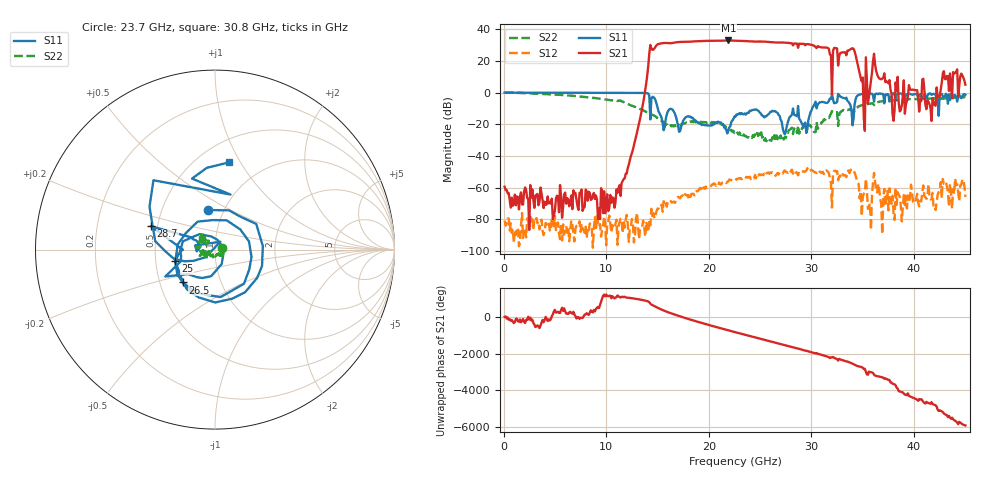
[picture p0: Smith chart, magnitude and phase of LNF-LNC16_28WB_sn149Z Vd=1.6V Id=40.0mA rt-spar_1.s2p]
!Mode: Constant current
!Vd_set [V]: 1.6
!Id_set [A]: 0.04
!Vd [V]: 1.6
!Vg [V]: -0.135
!Id [A]: 0.039988
!Ig [A]: -1.4e-05
!bias: Vd=1.6V Id=40.0mA
!psx-card: 1
!psx-channel: 1
!VNA ID: Agilent Technologies,E8361A,US43140535,A.06.04.32
!IFBW [Hz]: 50.0
!Averaging: 1
!Power [dBm]: -50.0
!Power Slope [dB/GHz]: 0.0
!Reduce IF at low frequency: 1
!Sweep_index: 1
!DUT model number: LNF-LNC16_28WB
!DUT serial number: 149Z
!Station: RT1
!Setup: Room temperature S-parameter
!Method: rt-spar
!Measurement start: 2021-02-22 17:17:17
!Measurement end: 2021-02-22 17:17:35
!Measurement length [s]: 17.90469479560852
!Saved by LNF Software Version: 0.9.109
#HZ S DB R 50
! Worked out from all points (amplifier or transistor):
!   450 points, 100 MHz to 45 GHz, reference 50 ohm
!   highest |S21| = 33.0 dB at 21.9 GHz (marker M1)
!   |S21| within 3 dB of that: 14.92 GHz to 28.19 GHz (13.27 GHz wide, 61.6 % of centre)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
!   unconditionally stable (mu >= 1): 200 MHz to 342.3 MHz; 833.7 MHz to 1.301 GHz; 1.499 GHz to end of sweep
!   at 7.6 GHz: K = 90999.63, MAG = -41.8 dB, |S12| = -82.8 dB
!   at 22.6 GHz: K = 6.62, MAG = 33.0 dB, |S12| = -55.5 dB
!   at 45 GHz: K = 72.84, MAG = 13.8 dB, |S12| = -66.0 dB
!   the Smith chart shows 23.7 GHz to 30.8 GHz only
!   S11 on the Smith chart (normalised r, x): 23.7 GHz: 0.84, +0.39; 25 GHz: 0.63, -0.09; 26.5 GHz: 0.66, -0.26; 28.7 GHz: 0.46, +0.14; 30.8 GHz: 0.70, +0.90
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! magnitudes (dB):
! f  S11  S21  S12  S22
! 100 MHz  0.0  -59.5  -80.8  0.0
! 7.6 GHz  -0.1  -61.2  -82.8  -2.5
! 11 GHz  -0.1  -61.2  -80.3  -5.1
! 13 GHz  -0.2  -25.2  -75.9  -9.4
! 14.3 GHz  -17.0  30.1  -83.9  -13.4
! 15.1 GHz  -11.8  30.8  -73.3  -16.6
! 21.9 GHz  -23.6  33.0  -56.1  -22.5
! 22.6 GHz  -15.2  32.8  -55.5  -24.7
! 23.7 GHz  -13.0  32.6  -53.3  -28.0
! 25 GHz  -12.7  32.3  -52.2  -27.8
! 26.5 GHz  -11.9  31.7  -52.6  -30.6
! 28.7 GHz  -8.4  28.4  -52.3  -20.7
! 30.1 GHz  -9.5  30.0  -49.2  -22.7
! 30.8 GHz  -6.2  28.9  -50.1  -20.7
! 34.1 GHz  -16.8  27.7  -49.1  -12.1
! 35 GHz  -0.9  9.5  -66.0  -7.8
! 36.1 GHz  -5.7  24.6  -50.8  -7.9
! 37.6 GHz  -5.6  7.9  -60.4  -5.1
! 37.9 GHz  -0.6  -13.4  -65.2  -4.9
! 41.8 GHz  -1.0  -3.5  -63.4  -3.7
! 43 GHz  -2.3  8.6  -57.6  -3.6
! 45 GHz  -1.3  5.0  -66.0  -2.9
